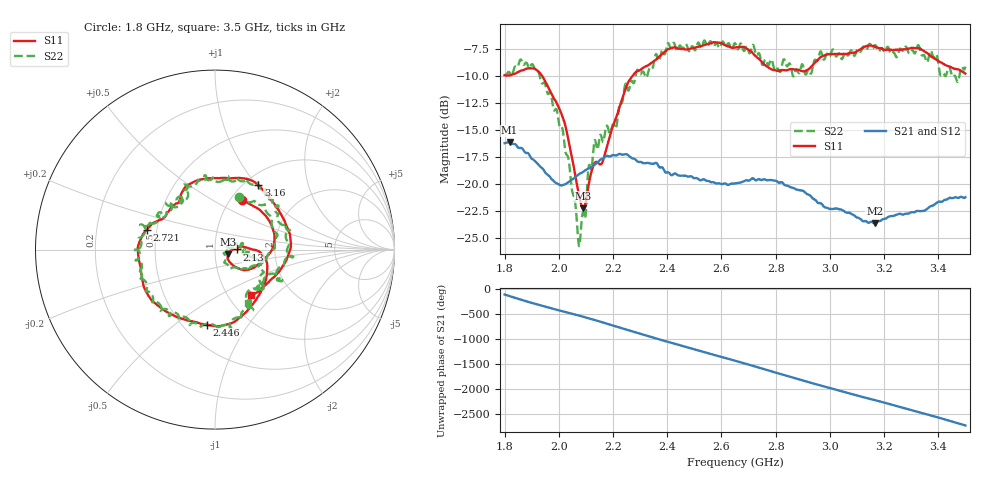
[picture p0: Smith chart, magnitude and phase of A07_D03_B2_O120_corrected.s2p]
! Created with skrf 1.9.0 (http://scikit-rf.org).
# Hz S RI R 50.0
!freq ReS11 ImS11 ReS21 ImS21 ReS12 ImS12 ReS22 ImS22
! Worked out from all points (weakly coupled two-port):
!   1601 points, 1.8 GHz to 3.5 GHz, reference 50 ohm
!   highest |S21| = -16.14 dB at 1.818 GHz (marker M1); lowest = -23.6 dB at 3.165 GHz (marker M2)
!   lowest |S11| = -22.3 dB at 2.09 GHz (marker M3), VSWR 1.17, Z = 57.7 - j3.14 ohm
!   |S11| at or under -10 dB: 1.938 GHz to 2.272 GHz (334.4 MHz wide, 15.9 % of centre)
!   |S22| runs from -25.8 to -6.7 dB; largest |S21 - S12| = 0.0027
!   S11 on the Smith chart (normalised r, x): 1.8 GHz: 1.13, +0.70; 2.13 GHz: 1.28, +0.00; 2.446 GHz: 0.65, -0.66; 2.721 GHz: 0.44, +0.12; 3.16 GHz: 1.15, +1.02; 3.5 GHz: 1.27, -0.72
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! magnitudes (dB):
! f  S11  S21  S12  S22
! 1.8 GHz  -10.0  -16.2  -16.2  -9.9
! 1.818 GHz  -10.0  -16.1  -16.2  -9.7
! 1.903 GHz  -9.3  -17.7  -17.7  -8.9
! 1.968 GHz  -11.4  -19.4  -19.4  -11.5
! 2.015 GHz  -13.8  -20.1  -20.1  -15.0
! 2.072 GHz  -20.7  -19.2  -19.2  -25.3
! 2.084 GHz  -22.0  -19.0  -18.9  -23.5
! 2.09 GHz  -22.3  -18.9  -18.9  -22.7
! 2.13 GHz  -18.2  -18.3  -18.3  -16.1
! 2.162 GHz  -17.9  -17.7  -17.6  -16.1
! 2.26 GHz  -10.4  -17.5  -17.4  -11.2
! 2.367 GHz  -8.3  -18.3  -18.3  -8.6
! 2.446 GHz  -7.5  -19.2  -19.2  -7.2
! 2.65 GHz  -7.4  -20.0  -19.9  -7.0
! 2.721 GHz  -8.1  -19.6  -19.5  -7.4
! 2.934 GHz  -9.1  -21.3  -21.3  -9.6
! 3.16 GHz  -7.2  -23.6  -23.5  -7.4
! 3.165 GHz  -7.3  -23.6  -23.6  -7.2
! 3.217 GHz  -7.6  -23.0  -23.0  -7.5
! 3.327 GHz  -7.5  -22.5  -22.5  -7.2
! 3.468 GHz  -9.4  -21.3  -21.2  -10.4
! 3.5 GHz  -9.8  -21.2  -21.2  -9.2
